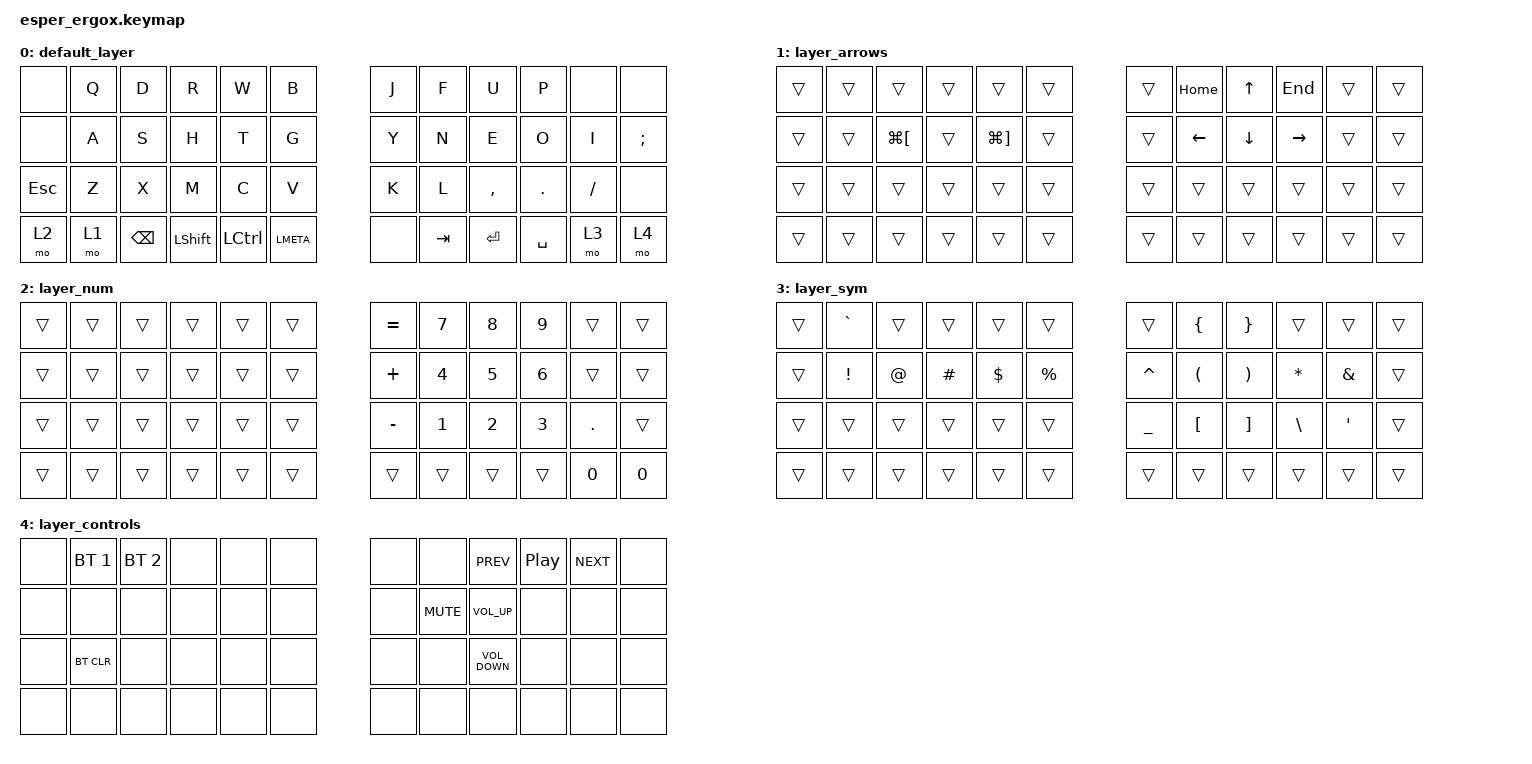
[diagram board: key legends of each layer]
#include <behaviors.dtsi>
#include <dt-bindings/zmk/keys.h>
#include <dt-bindings/zmk/bt.h>

/ {
    keymap {
        compatible = "zmk,keymap";

        default_layer {
            bindings = <
    &none       &kp Q   &kp D      &kp R       &kp W   &kp B                   &kp J         &kp F        &kp U       &kp P        &none       &none
    &none       &kp A   &kp S      &kp H       &kp T   &kp G                   &kp Y         &kp N        &kp E       &kp O        &kp I       &kp SEMI
    &kp ESC     &kp Z   &kp X      &kp M       &kp C   &kp V                   &kp K         &kp L        &kp COMMA   &kp DOT      &kp FSLH    &none
    &mo 2       &mo 1   &kp BSPC   &kp LSHIFT   &kp LCTRL   &kp LMETA          &none         &kp TAB      &kp RET     &kp SPACE    &mo 3       &mo 4
            >;
         };

        layer_arrows {
            bindings = <
    &trans    &trans    &trans        &trans     &trans        &trans    &trans    &kp HOME    &kp UP      &kp END     &trans    &trans
    &trans    &trans    &kp LG(LBKT)  &trans     &kp LG(RBKT)  &trans    &trans    &kp LEFT    &kp DOWN    &kp RIGHT   &trans    &trans
    &trans    &trans    &trans        &trans     &trans        &trans    &trans    &trans      &trans      &trans      &trans    &trans
    &trans    &trans    &trans        &trans     &trans        &trans    &trans    &trans      &trans      &trans      &trans    &trans    
            >;
         };

        layer_num {
            bindings = <
    &trans    &trans    &trans    &trans    &trans    &trans    &kp EQUAL   &kp N7     &kp N8    &kp N9    &trans    &trans    
    &trans    &trans    &trans    &trans    &trans    &trans    &kp PLUS    &kp N4     &kp N5    &kp N6    &trans    &trans    
    &trans    &trans    &trans    &trans    &trans    &trans    &kp MINUS   &kp N1     &kp N2    &kp N3    &kp DOT   &trans    
    &trans    &trans    &trans    &trans    &trans    &trans    &trans      &trans     &trans    &trans    &kp N0    &kp N0
            >;
         };

        layer_sym {
            bindings = <
    &trans    &kp GRAVE  &trans    &trans     &trans     &trans       &trans     &kp LEFT_BRACE    &kp RIGHT_BRACE      &trans       &trans     &trans    
    &trans    &kp EXCL   &kp AT    &kp HASH   &kp DLLR   &kp PRCNT    &kp CARET  &kp LPAR          &kp RPAR             &kp STAR     &kp AMPS   &trans
    &trans    &trans     &trans    &trans     &trans     &trans       &kp UNDER  &kp LEFT_BRACKET  &kp RIGHT_BRACKET    &kp BSLH     &kp APOS   &trans    
    &trans    &trans     &trans    &trans     &trans     &trans       &trans     &trans            &trans               &trans       &trans     &trans    
            >;
         };

        layer_controls {
            bindings = <
    &none    &bt BT_SEL 1 &bt BT_SEL 2 &none &none     &none    &none    &none       &kp C_PREV         &kp C_PLAY_PAUSE    &kp C_NEXT   &none    
    &none    &none        &none        &none        &none     &none    &none    &kp C_MUTE  &kp C_VOLUME_UP    &none               &none        &none    
    &none    &bt BT_CLR   &none        &none        &none     &none    &none    &none       &kp C_VOLUME_DOWN  &none               &none        &none
    &none    &none        &none        &none        &none     &none    &none    &none       &none              &none               &none        &none 
            >;
         };
     };
} ;
